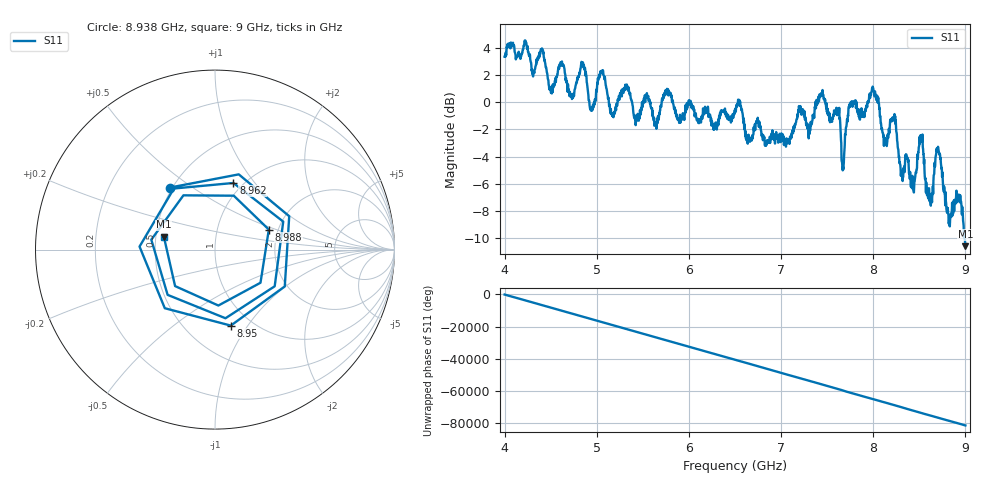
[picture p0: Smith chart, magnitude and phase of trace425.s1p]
! Created with skrf 1.8.0 (http://scikit-rf.org).
# Hz S RI R 50.0
!freq ReS11 ImS11
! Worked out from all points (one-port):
!   1601 points, 4 GHz to 9 GHz, reference 50 ohm
!   lowest |S11| = -10.6 dB at 9 GHz (marker M1), VSWR 1.83, Z = 27.6 + j4.35 ohm
!   |S11| at or under -10 dB: 8.989757 GHz to end of sweep
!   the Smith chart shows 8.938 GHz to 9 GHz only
!   S11 on the Smith chart (normalised r, x): 8.938 GHz: 0.49, +0.41; 8.95 GHz: 0.80, -0.84; 8.962 GHz: 0.90, +0.79; 8.988 GHz: 1.79, +0.44; 9 GHz: 0.55, +0.09
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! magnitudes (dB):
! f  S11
! 4 GHz  3.4
! 4.506 GHz  0.8
! 4.625 GHz  2.7
! 4.728 GHz  0.6
! 4.856 GHz  2.6
! 4.941 GHz  -0.5
! 5.047 GHz  2.2
! 5.169 GHz  -0.9
! 5.25 GHz  0.4
! 5.875 GHz  -1.1
! 6.5 GHz  -0.7
! 7.125 GHz  -2.0
! 7.441 GHz  0.5
! 7.616 GHz  -0.5
! 7.675 GHz  -5.0
! 7.75 GHz  0.0
! 8.003 GHz  0.9
! 8.375 GHz  -4.1
! 8.431 GHz  -6.4
! 8.522 GHz  -2.8
! 8.619 GHz  -7.0
! 8.706 GHz  -3.4
! 8.819 GHz  -9.0
! 8.938 GHz  -7.4
! 8.95 GHz  -7.3
! 8.962 GHz  -8.3
! 8.988 GHz  -9.9
! 9 GHz  -10.6
